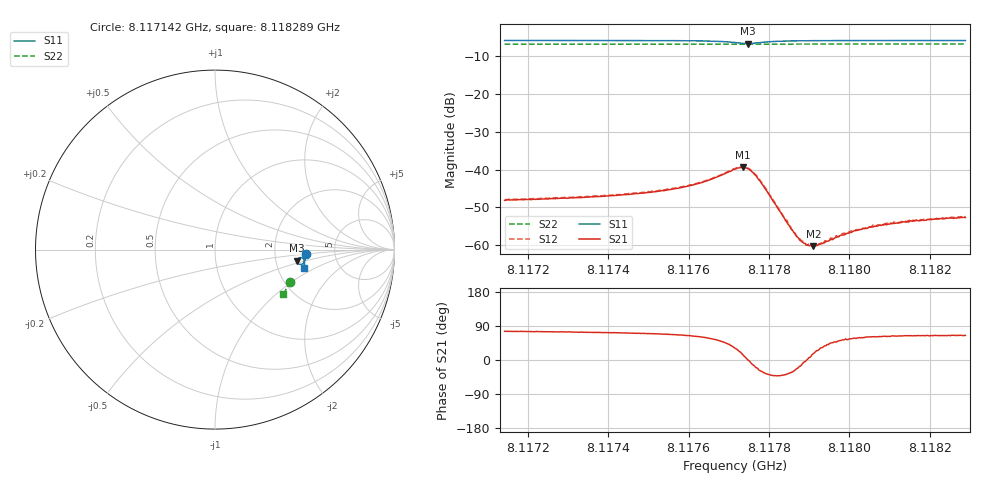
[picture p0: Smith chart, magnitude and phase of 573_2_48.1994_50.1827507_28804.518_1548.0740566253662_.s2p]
#  HZ  S  RI  R  50.00
! Rohde & Schwarz Vector Network Analyzer
! Rohde-Schwarz,ZNB20-2Port,1311601062101988,3.16
! Created: UTC 3/20/2024, 12:01:46 PM
! freq[Hz]  re:S11  im:S11  re:S21  im:S21  re:S12  im:S12  re:S22  im:S22
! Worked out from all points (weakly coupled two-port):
!   401 points, 8.117142 GHz to 8.118289 GHz, reference 50 ohm
!   highest |S21| = -39.40 dB at 8.117736 GHz (marker M1); lowest = -60.2 dB at 8.11791 GHz (marker M2)
!   lowest |S11| = -6.7 dB at 8.117747 GHz (marker M3), VSWR 2.71, Z = 132 - j20.5 ohm
!   |S11| at or under -10 dB: nowhere
!   |S22| runs from -6.9 to -6.8 dB; largest |S21 - S12| = 0.00037
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8.1171421e9  0.5059 -0.0264  0.000959 0.00379  0.00101 0.00387  0.4153 -0.1779
8.1173342e9  0.5042 -0.0422  0.00122 0.00409  0.0013 0.00419  0.4103 -0.1903
8.1174317e9  0.5029 -0.0508  0.00146 0.00437  0.0015 0.00442  0.4076 -0.1969
8.1175263e9  0.5007 -0.0602  0.00187 0.00483  0.00199 0.00492  0.4048 -0.203
8.1175808e9  0.4985 -0.0667  0.00235 0.00527  0.00245 0.00538  0.4031 -0.2065
8.1176352e9  0.4939 -0.0742  0.00338 0.00589  0.00349 0.00599  0.4013 -0.21
8.1177155e9  0.4686 -0.0811  0.00872 0.00521  0.00884 0.00532  0.3977 -0.2147
8.1177356e9  0.4588 -0.0708  0.0104 0.00249  0.0106 0.00251  0.3969 -0.2155
8.1177471e9  0.4574 -0.0612  0.0103 0.000117  0.0105 0.000139  0.3967 -0.2155
8.1177614e9  0.4626 -0.0504  0.00877 -0.00216  0.00891 -0.00227  0.3967 -0.2161
8.1177757e9  0.4717 -0.0449  0.00641 -0.00331  0.00668 -0.00332  0.3967 -0.2167
8.117856e9  0.4962 -0.0579  0.00137 -0.000867  0.00139 -0.000869  0.3951 -0.2224
8.1178732e9  0.4973 -0.061  0.00117 -0.000433  0.00119 -0.000404  0.3946 -0.2235
8.1178904e9  0.4981 -0.064  0.00105 -7.55e-05  0.00105 -7.91e-05  0.3941 -0.2247
8.1179076e9  0.4985 -0.0664  0.000955 0.000249  0.000977 0.000255  0.3936 -0.2258
8.1179105e9  0.4985 -0.067  0.000933 0.00028  0.00094 0.00029  0.3934 -0.226
8.1179306e9  0.4988 -0.0695  0.00088 0.000562  0.000932 0.000558  0.3928 -0.2273
8.1179994e9  0.4988 -0.0775  0.00082 0.0012  0.000892 0.00122  0.3904 -0.2319
8.1180596e9  0.4982 -0.0835  0.000835 0.00153  0.000878 0.00164  0.3885 -0.2355
8.1180997e9  0.4977 -0.0872  0.000888 0.00168  0.000862 0.0017  0.3873 -0.2381
8.1181657e9  0.4969 -0.0929  0.000928 0.00191  0.000946 0.00194  0.3849 -0.2422
8.118289e9  0.4949 -0.1029  0.000988 0.00211  0.00101 0.00212  0.3804 -0.2495
